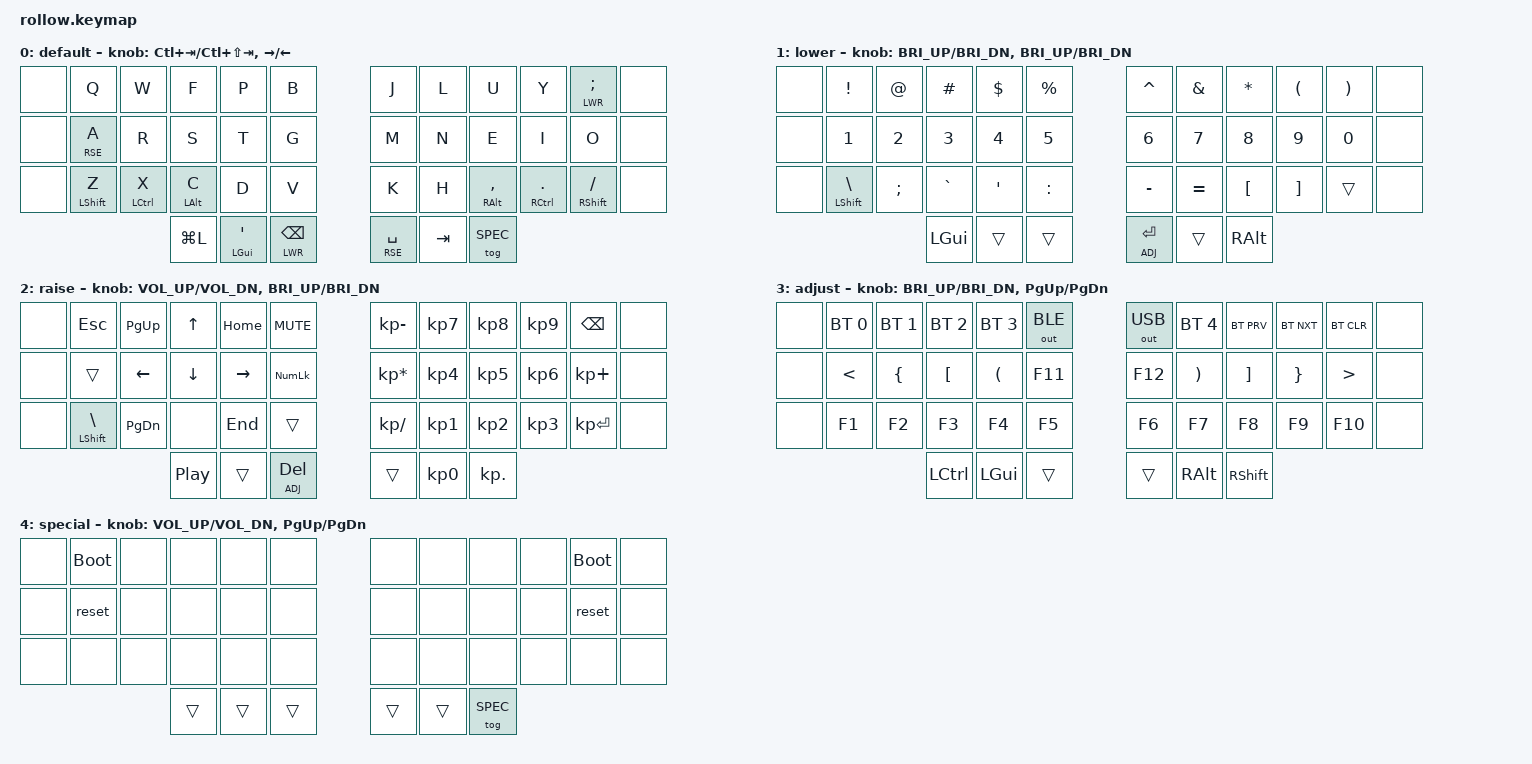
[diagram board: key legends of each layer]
/*
 * Copyright (c) 2020 The ZMK Contributors
 *
 * SPDX-License-Identifier: MIT
 */

#include <behaviors.dtsi>
#include <dt-bindings/zmk/keys.h>
#include <dt-bindings/zmk/bt.h>
#include <dt-bindings/zmk/outputs.h>

#define COL   0
#define COLL  1
#define COLR  2

#define DEF 0
#define LWR 1
#define RSE 2
#define ADJ 3
#define SPEC 4

// Using layer taps on thumbs, having quick tap as well helps w/ repeating space/backspace
&lt { quick_tap_ms = <200>; };

/ {
    behaviors {
        hm: homerow_mods {
            compatible = "zmk,behavior-hold-tap";
            label = "homerow mods";
            #binding-cells = <2>;
            tapping-term-ms = <200>;
            flavor = "tap-preferred";
            bindings = <&kp>, <&kp>;
        };
    };
};

/ {
    keymap {
        compatible = "zmk,keymap";

        default {
/* Default (Colemak-DH)
 * .-----------------------------------------.                    .-----------------------------------------.
 * | xxxx |   Q  |   W  |   F  |   P  |   B  |                    |   J  |   L  |   U  |   Y  | LOW-;| xxxx |
 * |------+------+------+------+------+------|                    |------+------+------+------+------+------|
 * | xxxx | RSE-A|   R  |   S  |   T  |   G  |                    |   M  |   N  |   E  |   I  |   O  | xxxx |
 * |------+------+------+------+------+------|                    |------+------+------+------+------+------|
 * | xxxx |SHFT-Z|CTRL-X| ALT-C|   D  |   V  |-------.    .-------|   K  |   H  | ALT-,|CTRL-.|SHFT-/| xxxx |
 * '-----------------------------------------/       /     \      \-----------------------------------------'
 *                         |  LOCK | QUOT | / BSPACE/       \ Space\  | Tab  | TOG  |
 *                         |       |(GUI) |/ (LWR) /         \ (RSE)\ |      |(SPEC)|
 *                         '--------------''------'           '------''-------------'
 *
 *   Encoder Left: CTRL+SHIFT+TAB <-> CTRL+TAB
 *   Encoder Right: Left <-> Right
 */
            bindings = <
    &none     &kp Q          &kp W          &kp F          &kp P          &kp B          &kp J          &kp L          &kp U          &kp Y          &lt LWR SEMI   &none
    &none     &lt RSE A      &kp R          &kp S          &kp T          &kp G          &kp M          &kp N          &kp E          &kp I          &kp O          &none
    &none     &hm LSHFT Z    &hm LCTRL X    &hm LALT C     &kp D          &kp V          &kp K          &kp H          &hm RALT COMMA &hm RCTRL DOT  &hm RSHFT FSLH &none
                                            &kp LG(L)      &hm LGUI SQT   &lt LWR BSPC   &lt RSE SPACE  &kp TAB        &tog SPEC
                        >;
                        sensor-bindings = <&inc_dec_kp LC(TAB) LC(LS(TAB)) &inc_dec_kp RIGHT LEFT>;
                };

        lower {
/* LOWER (Numbers/Symbols)
 * .-----------------------------------------.                    .-----------------------------------------.
 * | xxxx |   !  |   @  |   #  |   $  |   %  |                    |   ^  |   &  |   *  |   (  |   )  | xxxx |
 * |------+------+------+------+------+------|                    |------+------+------+------+------+------|
 * | xxxx |   1  |   2  |   3  |   4  |   5  |                    |   6  |   7  |   8  |   9  |   0  | xxxx |
 * |------+------+------+------+------+------|                    |------+------+------+------+------+------|
 * | xxxx |SHFT-\|  ;:  |  `~  |  '"  |   :  |-------.    .-------|  -_  |  =+  |  [{  |  ]}  |SHFT-/| xxxx |
 * '-----------------------------------------/       /     \      \-----------------------------------------'
 *                          |  GUI | (xx) | / (xxx) /       \ Enter\  | (xx) |  ALT |
 *                          |      |      |/       /         \ (ADJ)\ |      |      |
 *                          '-------------''------'           '------''-------------'
 * 
 *   Encoder Left: BRI_DN <-> BRI_UP
 *   Encoder Right: BRI_UP <-> BRI_DN
 */
            bindings = <
    &none     &kp EXCL       &kp AT         &kp HASH       &kp DLLR       &kp PRCNT      &kp CARET      &kp AMPS       &kp STAR       &kp LPAR       &kp RPAR       &none
    &none     &kp N1         &kp N2         &kp N3         &kp N4         &kp N5         &kp N6         &kp N7         &kp N8         &kp N9         &kp N0         &none
    &none     &hm LSHFT BSLH &kp SEMI       &kp GRAVE      &kp SQT        &kp COLON      &kp MINUS      &kp EQUAL      &kp LBKT       &kp RBKT       &trans         &none
                                            &kp LGUI       &trans         &trans         &lt ADJ RET    &trans         &kp RALT
                        >;
                        sensor-bindings = <&inc_dec_kp C_BRI_UP C_BRI_DN &inc_dec_kp C_BRI_UP C_BRI_DN>;
                };

        raise {
/* RAISE (Numpad and Navigation)
 * .-----------------------------------------.                    .-----------------------------------------.
 * | xxxx | ESC  | PGUP |  UP  | HOME | MUTE |                    | KP_- | KP_7 | KP_8 | KP_9 | BKSP | xxxx |
 * |------+------+------+------+------+------|                    |------+------+------+------+------+------|
 * | xxxx | (xx) | LEFT | DOWN | RIGHT| NMLK |                    | KP_* | KP_4 | KP_5 | KP_6 | KP_+ | xxxx |
 * |------+------+------+------+------+------|                    |------+------+------+------+------+------|
 * | xxxx | SHFT | PGDN |      | END  |      |-------.    .-------| KP_/ | KP_1 | KP_2 | KP_3 |KP_ENT| xxxx |
 * '-----------------------------------------/       /     \      \-----------------------------------------'
 *                          | Play | (xx) | /DELETE /       \ (xxx)\  | KP_0 | KP_. |
 *                          | Pause|      |/ (ADJ) /         \      \ |      |      |
 *                          '------------''------'            '------''-------------'
 *
 *   Encoder Left: VOL_DN <-> VOL_UP
 *   Encoder Right: BRI_UP <-> BRI_DN
 */
            bindings = <
    &none     &kp ESC        &kp PG_UP      &kp UP         &kp HOME       &kp C_MUTE    &kp KP_MINUS    &kp KP_N7      &kp KP_N8      &kp KP_N9      &kp BSPC       &none
    &none     &trans         &kp LEFT       &kp DOWN       &kp RIGHT      &kp KP_NUM    &kp KP_ASTERISK &kp KP_N4      &kp KP_N5      &kp KP_N6      &kp KP_PLUS    &none
    &none     &hm LSHFT BSLH &kp PG_DN      &none          &kp END        &trans        &kp KP_DIVIDE   &kp KP_N1      &kp KP_N2      &kp KP_N3      &kp KP_ENTER   &none
                                            &kp C_PP       &trans         &lt ADJ DEL   &trans          &kp KP_N0      &kp KP_DOT
                        >;
                        sensor-bindings = <&inc_dec_kp C_VOL_UP C_VOL_DN &inc_dec_kp C_BRI_UP C_BRI_DN>;
                };
 
        adjust {
/* ADJUST (Functions and BT)
 * .-----------------------------------------.                    .-----------------------------------------.
 * | xxxx | BT 0 | BT 1 | BT 2 | BT 3 |  BLE |                    |  USB | BT 4 |BTPREV|BTNEXT|BT_CLR| xxxx |
 * |------+------+------+------+------+------|                    |------+------+------+------+------+------|
 * | xxxx |   <  |   {  |   [  |   (  |  F11 |                    |  F12 |   )  |   ]  |   }  |   >  | xxxx |
 * |------+------+------+------+------+------|                    |------+------+------+------+------+------|
 * | xxxx |  F1  |  F2  |  F3  |  F4  |  F5  |-------.    .-------|  F6  |  F7  |  F8  |  F9  |  F10 | xxxx |
 * '-----------------------------------------/       /     \      \-----------------------------------------'
 *                          |      |      | / (xxx) /       \ (xxx)\  |      |      |
 *                          |      |      |/       /         \      \ |      |      |
 *                          '------------''------'            '------''-------------'
 *
 *   Encoder Left: -
 *   Encoder Right: VOL_UP <-> VOL_D
 */
            bindings = <
    &none     &bt BT_SEL 0   &bt BT_SEL 1   &bt BT_SEL 2   &bt BT_SEL 3   &out OUT_BLE   &out OUT_USB   &bt BT_SEL 4   &bt BT_PRV     &bt BT_NXT     &bt BT_CLR     &none
    &none     &kp LT         &kp LBRC       &kp LBKT       &kp LPAR       &kp F11        &kp F12        &kp RPAR       &kp RBKT       &kp RBRC       &kp GT         &none
    &none     &kp F1         &kp F2         &kp F3         &kp F4         &kp F5         &kp F6         &kp F7         &kp F8         &kp F9         &kp F10        &none
                                            &kp LCTRL      &kp LGUI       &trans         &trans         &kp RALT       &kp RSHFT
                        >;
                        sensor-bindings = <&inc_dec_kp C_BRI_UP C_BRI_DN &inc_dec_kp PG_UP PG_DN>;
                };

        special {
/* SPECIAL (CUSTOM LAYER (games?)) TODO: UPDATE after 7/5/2022
 * .-----------------------------------------.                    .-----------------------------------------.
 * | xxxx | BL_L |      |      |      |      |                    |      |      |      |      | BL_R | xxxx |
 * |------+------+------+------+------+------|                    |------+------+------+------+------+------|
 * | xxxx | RST_L|      |      |      |      |                    |      |      |      |      | RST_R| xxxx |
 * |------+------+------+------+------+------|                    |------+------+------+------+------+------|
 * | xxxx |      |      |      |      |      |-------.    .-------|      |      |      |      |      | xxxx |
 * '-----------------------------------------/       /     \      \-----------------------------------------'
 *                          | Play |      | / (xxx) /       \ (xxx)\  |      |  ALT |
 *                          | Paus |      |/       /         \      \ |      |      |
 *                          '------------''------'            '------''-------------'
 *
 *   Encoder Left: -
 *   Encoder Right: VOL_UP <-> VOL_D
 */
            bindings = <
    &none     &bootloader    &none          &none          &none          &none          &none          &none          &none          &none          &bootloader    &none
    &none     &reset         &none          &none          &none          &none          &none          &none          &none          &none          &reset         &none
    &none     &none          &none          &none          &none          &none          &none          &none          &none          &none          &none          &none
                                            &trans         &trans         &trans         &trans         &trans         &tog SPEC
                        >;
                        sensor-bindings = <&inc_dec_kp C_VOL_UP C_VOL_DN &inc_dec_kp PG_UP PG_DN>;
                };
        };
};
